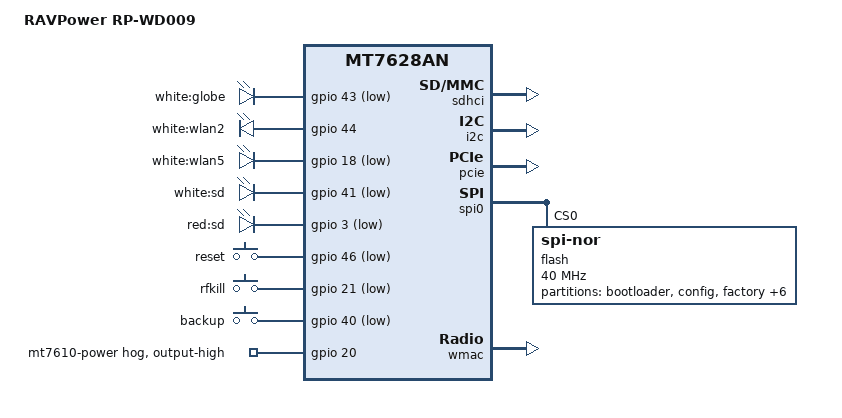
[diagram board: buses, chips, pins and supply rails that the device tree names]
// SPDX-License-Identifier: GPL-2.0-or-later OR MIT

#include "mt7628an.dtsi"

#include <dt-bindings/gpio/gpio.h>
#include <dt-bindings/input/input.h>

/ {
	compatible = "ravpower,rp-wd009", "mediatek,mt7628an-soc";
	model = "RAVPower RP-WD009";

	aliases {
		led-boot = &led_globe;
		led-failsafe = &led_globe;
		led-running = &led_globe;
		led-upgrade = &led_globe;
	};

	chosen {
		bootargs = "console=ttyS0,57600";
	};

	leds {
		compatible = "gpio-leds";

		led_globe: globe {
			label = "white:globe";
			gpios = <&gpio 43 GPIO_ACTIVE_LOW>;
		};

		wlan2 {
			label = "white:wlan2";
			gpios = <&gpio 44 GPIO_ACTIVE_HIGH>;
			linux,default-trigger = "phy0tpt";
		};

		wlan5 {
			label = "white:wlan5";
			gpios = <&gpio 18 GPIO_ACTIVE_LOW>;
			linux,default-trigger = "phy1tpt";
		};

		sd_white {
			label = "white:sd";
			gpios = <&gpio 41 GPIO_ACTIVE_LOW>;
		};

		sd_red {
			label = "red:sd";
			gpios = <&gpio 3 GPIO_ACTIVE_LOW>;
		};
	};

	keys {
		compatible = "gpio-keys";

		reset {
			label = "reset";
			gpios = <&gpio 46 GPIO_ACTIVE_LOW>;
			linux,code = <KEY_RESTART>;
		};

		/* Power interrupt on Pin 39 */

		rfkill {
			label = "rfkill";
			gpios = <&gpio 21 GPIO_ACTIVE_LOW>;
			linux,code = <KEY_RFKILL>;
		};

		backup {
			label = "backup";
			gpios = <&gpio 40 GPIO_ACTIVE_LOW>;
			linux,code = <KEY_COPY>;
		};
	};
};

&gpio {
	mt7610-power {
		gpio-hog;
		gpios = <20 GPIO_ACTIVE_HIGH>;
		output-high;
		line-name = "mt7610-power";
	};
};

&state_default {
	gpio {
		groups = "uart1", "wled_an", "p0led_an", "p2led_an", "p3led_an",
				"p4led_an", "uart2", "pwm0", "i2s";
		function = "gpio";
	};
};

&sdhci {
	status = "okay";
};

&i2c {
	status = "okay";

	/* Custom PMIC at 0x0a */
};

&pcie {
	status = "okay";
};

&pcie0 {
	wifi@0,0 {
		reg = <0x0000 0 0 0 0>;
		mediatek,mtd-eeprom = <&factory 0x8000>;
		ieee80211-freq-limit = <5470000 6000000>;
	};
};

&spi0 {
	status = "okay";

	flash@0 {
		compatible = "jedec,spi-nor";
		reg = <0>;
		spi-max-frequency = <40000000>;

		partitions {
			compatible = "fixed-partitions";
			#address-cells = <1>;
			#size-cells = <1>;

			partition@0 {
				label = "bootloader";
				reg = <0x0 0x30000>;
				read-only;
			};

			partition@30000 {
				label = "config";
				reg = <0x30000 0x10000>;
				read-only;
			};

			factory: partition@40000 {
				label = "factory";
				reg = <0x40000 0x10000>;
				read-only;
			};

			partition@50000 {
				label = "loader";
				reg = <0x50000 0x180000>;
			};

			partition@1d0000 {
				label = "params";
				reg = <0x1d0000 0x10000>;
				read-only;
			};

			partition@1e0000 {
				label = "user_backup";
				reg = <0x1e0000 0x10000>;
				read-only;
			};

			partition@1f0000 {
				label = "user";
				reg = <0x1f0000 0x10000>;
				read-only;
			};

			partition@200000 {
				compatible = "denx,uimage";
				label = "firmware";
				reg = <0x200000 0xdf0000>;
			};

			partition@ff0000 {
				label = "mode";
				reg = <0xff0000 0x10000>;
				read-only;
			};
		};
	};
};

&wmac {
	status = "okay";
};

&ethernet {
	mtd-mac-address = <&factory 0x4>;
};
